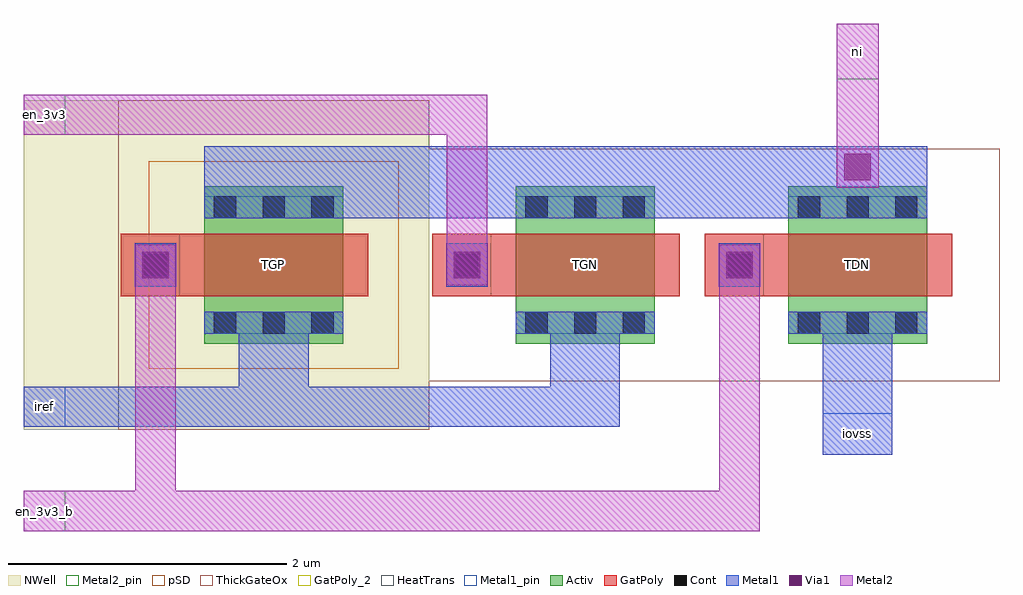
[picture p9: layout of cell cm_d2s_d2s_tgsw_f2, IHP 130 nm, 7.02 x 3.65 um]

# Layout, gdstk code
from math import pi, radians
import gdstk
lib = gdstk.Library(unit=1e-6, precision=1e-09)
def R(c, l, rs):  # rectangles x0, y0, x1, y1
    for r in rs: c.add(gdstk.rectangle(r[:2], r[2:], *l))
def A(c, l, x, y, w, h, nx, ny, dx, dy):  # array of equal rectangles
    R(c, l, [(x+i*dx, y+j*dy, x+i*dx+w, y+j*dy+h) for i in range(nx) for j in range(ny)])
Activ = (1, 0)
GatPoly = (5, 0)
GatPoly_2 = (5, 2)
Cont = (6, 0)
Metal1 = (8, 0)
Metal1_pin = (8, 2)
Metal2 = (10, 0)
Metal2_pin = (10, 2)
pSD = (14, 0)
Via1 = (19, 0)
NWell = (31, 0)
ThickGateOx = (44, 0)
HeatTrans = (51, 0)

cm_d2s_pmoshv = lib.new_cell('cm_d2s_pmosHV')
R(cm_d2s_pmoshv, Activ, [(0,0,0.3,0.3), (0,0,1.13,1), (0.83,0,1.13,0.3)])
R(cm_d2s_pmoshv, GatPoly, [(0.34,-0.18,0.79,1.18)])
R(cm_d2s_pmoshv, GatPoly_2, [(0.34,-0.18,0.79,1.18)])
A(cm_d2s_pmoshv, Cont, 0.07, 0.07, 0.16, 0.16, 1, 3, 0, 0.35)
A(cm_d2s_pmoshv, Cont, 0.9, 0.07, 0.16, 0.16, 1, 3, 0, 0.35)
R(cm_d2s_pmoshv, Metal1, [(0.07,0,0.23,1), (0.9,0,1.06,1)])
R(cm_d2s_pmoshv, Metal1_pin, [(0.07,0,0.23,1), (0.9,0,1.06,1)])
R(cm_d2s_pmoshv, pSD, [(-0.18,-0.4,1.31,1.4)])
R(cm_d2s_pmoshv, NWell, [(-0.62,-0.62,1.75,1.62)])
R(cm_d2s_pmoshv, ThickGateOx, [(-0.62,-0.62,1.75,1.62)])
R(cm_d2s_pmoshv, HeatTrans, [(0.34,-0.18,0.79,1.18)])
cm_d2s_pmoshv.add(gdstk.Label('pmosHV', (0.565,0.5), layer=63, texttype=0))
cm_d2s_pmoshv.add(gdstk.Label('pmos', (0.565,0.5), layer=51, texttype=0))

cm_d2s_nmoshv_1 = lib.new_cell('cm_d2s_nmosHV_1')
R(cm_d2s_nmoshv_1, Activ, [(0,0,0.3,0.3), (0,0,1.13,1), (0.83,0,1.13,0.3)])
R(cm_d2s_nmoshv_1, GatPoly, [(0.34,-0.18,0.79,1.18)])
R(cm_d2s_nmoshv_1, GatPoly_2, [(0.34,-0.18,0.79,1.18)])
A(cm_d2s_nmoshv_1, Cont, 0.07, 0.07, 0.16, 0.16, 1, 3, 0, 0.35)
A(cm_d2s_nmoshv_1, Cont, 0.9, 0.07, 0.16, 0.16, 1, 3, 0, 0.35)
R(cm_d2s_nmoshv_1, Metal1, [(0.07,0,0.23,1), (0.9,0,1.06,1)])
R(cm_d2s_nmoshv_1, Metal1_pin, [(0.07,0,0.23,1), (0.9,0,1.06,1)])
R(cm_d2s_nmoshv_1, ThickGateOx, [(-0.27,-0.52,1.4,1.52)])
R(cm_d2s_nmoshv_1, HeatTrans, [(0.34,-0.18,0.79,1.18)])
cm_d2s_nmoshv_1.add(gdstk.Label('nmosHV', (0.565,0.5), layer=63, texttype=0))
cm_d2s_nmoshv_1.add(gdstk.Label('nmosHV', (0.565,0.5), layer=51, texttype=0))

cm_d2s_d2s_tgsw_f2 = lib.new_cell('cm_d2s_d2s_tgsw_f2')
R(cm_d2s_d2s_tgsw_f2, GatPoly, [(-0.6,0.34,-0.1,0.79), (1.64,0.34,2.14,0.79), (3.6,0.34,4.1,0.79)])
R(cm_d2s_d2s_tgsw_f2, Cont, [(-0.43,0.485,-0.27,0.645), (1.81,0.485,1.97,0.645), (3.77,0.485,3.93,0.645)])
R(cm_d2s_d2s_tgsw_f2, Metal1, [(4.45,-0.8,4.95,0.23), (-1.3,-0.6,2.99,-0.31), (0.25,-0.6,0.75,0.23), (2.49,-0.6,2.99,0.23), (-0.5,0.41,-0.2,0.72), (-0.48,0.41,-0.22,0.72), (1.74,0.41,2.04,0.72), (1.76,0.41,2.02,0.72), (3.7,0.41,4,0.72), (3.72,0.41,3.98,0.72), (0,0.9,5.2,1.42)])
R(cm_d2s_d2s_tgsw_f2, Metal1_pin, [(4.45,-0.8,4.95,-0.5), (-1.3,-0.6,-1,-0.31)])
R(cm_d2s_d2s_tgsw_f2, Metal2, [(-1.3,-1.35,3.995,-1.06), (-0.495,-1.35,-0.205,0.71), (3.705,-1.35,3.995,0.71), (1.745,0.42,2.035,1.79), (4.55,1.12,4.85,2.3), (-1.3,1.5,2.035,1.79)])
R(cm_d2s_d2s_tgsw_f2, Metal2_pin, [(-1.3,-1.35,-1,-1.06), (-1.3,1.5,-1,1.79), (4.55,1.9,4.85,2.3)])
R(cm_d2s_d2s_tgsw_f2, Via1, [(-0.445,0.47,-0.255,0.66), (1.795,0.47,1.985,0.66), (3.755,0.47,3.945,0.66), (4.605,1.175,4.795,1.365)])
R(cm_d2s_d2s_tgsw_f2, NWell, [(-1.3,-0.62,1.62,1.75)])
R(cm_d2s_d2s_tgsw_f2, ThickGateOx, [(-0.27,-0.27,5.47,1.4)])
cm_d2s_d2s_tgsw_f2.add(gdstk.Reference(cm_d2s_pmoshv, (0,1.13), rotation=3*pi/2))
cm_d2s_d2s_tgsw_f2.add(gdstk.Reference(cm_d2s_nmoshv_1, (2.24,1.13), rotation=3*pi/2))
cm_d2s_d2s_tgsw_f2.add(gdstk.Reference(cm_d2s_nmoshv_1, (4.2,1.13), rotation=3*pi/2))
cm_d2s_d2s_tgsw_f2.add(gdstk.Label('TGP', (0.5,0.565), layer=63, texttype=0))
cm_d2s_d2s_tgsw_f2.add(gdstk.Label('TGN', (2.74,0.565), layer=63, texttype=0))
cm_d2s_d2s_tgsw_f2.add(gdstk.Label('TDN', (4.7,0.565), layer=63, texttype=0))
cm_d2s_d2s_tgsw_f2.add(gdstk.Label('ni', (4.7,2.1), layer=10, texttype=25))
cm_d2s_d2s_tgsw_f2.add(gdstk.Label('en_3v3_b', (-1.15,-1.205), layer=10, texttype=25))
cm_d2s_d2s_tgsw_f2.add(gdstk.Label('en_3v3', (-1.15,1.645), layer=10, texttype=25))
cm_d2s_d2s_tgsw_f2.add(gdstk.Label('iovss', (4.7,-0.65), layer=8, texttype=25))
cm_d2s_d2s_tgsw_f2.add(gdstk.Label('iref', (-1.15,-0.455), layer=8, texttype=25))

lib.write_gds('cm_d2s_d2s_tgsw_f2.gds')
